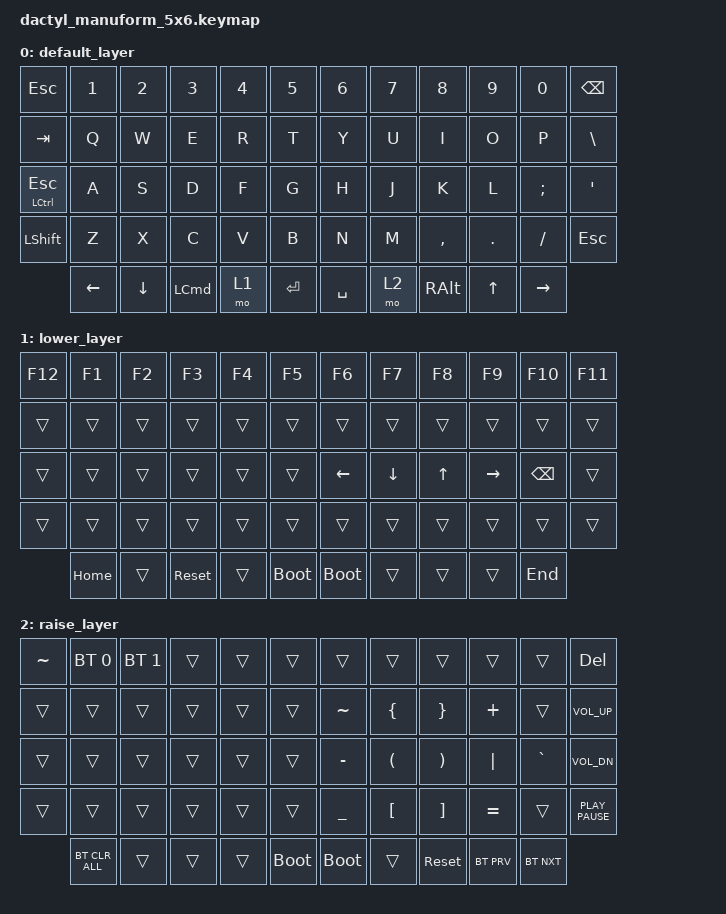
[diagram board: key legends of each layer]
#include <behaviors.dtsi>
#include <dt-bindings/zmk/bt.h>
#include <dt-bindings/zmk/keys.h>

#define DEFAULT 0
#define LWR 1
#define RSE 2

// #define ADJ 3

/ {
    macros {
        mac_screenshot: mac_screenshot {
            compatible = "zmk,behavior-macro";
            #binding-cells = <0>;
            bindings = <&macro_press>, <&kp LEFT_COMMAND>;

            label = "MAC_SCREENSHOT";
        };
    };

    keymap {
        compatible = "zmk,keymap";

        default_layer {
            bindings = <
&kp ESC                  &kp N1          &kp N2          &kp N3            &kp N4  &kp N5     &kp N6     &kp N7  &kp N8         &kp N9        &kp N0           &kp BSPC
&kp TAB                  &kp Q           &kp W           &kp E             &kp R   &kp T      &kp Y      &kp U   &kp I          &kp O         &kp P            &kp BACKSLASH
&mt LEFT_CONTROL ESCAPE  &kp A           &kp S           &kp D             &kp F   &kp G      &kp H      &kp J   &kp K          &kp L         &kp SEMI         &kp SINGLE_QUOTE
&kp LEFT_SHIFT           &kp Z           &kp X           &kp C             &kp V   &kp B      &kp N      &kp M   &kp COMMA      &kp DOT       &kp FSLH         &kp ESCAPE
                         &kp LEFT_ARROW  &kp DOWN_ARROW  &kp LEFT_COMMAND  &mo 1   &kp RET    &kp SPACE  &mo 2   &kp RIGHT_ALT  &kp UP_ARROW  &kp RIGHT_ARROW
            >;
        };

        lower_layer {
            bindings = <
&kp F12  &kp F1    &kp F2  &kp F3      &kp F4  &kp F5         &kp F6          &kp F7    &kp F8        &kp F9     &kp F10        &kp F11
&trans   &trans    &trans  &trans      &trans  &trans         &trans          &trans    &trans        &trans     &trans         &trans
&trans   &trans    &trans  &trans      &trans  &trans         &kp LEFT_ARROW  &kp DOWN  &kp UP_ARROW  &kp RIGHT  &kp BACKSPACE  &trans
&trans   &trans    &trans  &trans      &trans  &trans         &trans          &trans    &trans        &trans     &trans         &trans
         &kp HOME  &trans  &sys_reset  &trans  &bootloader    &bootloader     &trans    &trans        &trans     &kp END
            >;
        };

        raise_layer {
            bindings = <
&kp TILDE  &bt BT_SEL 0    &bt BT_SEL 1  &trans  &trans  &trans         &trans          &trans                &trans                 &trans      &trans      &kp DEL
&trans     &trans          &trans        &trans  &trans  &trans         &kp TILDE       &kp LEFT_BRACE        &kp RIGHT_BRACE        &kp PLUS    &trans      &kp K_VOL_UP
&trans     &trans          &trans        &trans  &trans  &trans         &kp MINUS       &kp LEFT_PARENTHESIS  &kp RIGHT_PARENTHESIS  &kp PIPE    &kp GRAVE   &kp K_VOL_DN
&trans     &trans          &trans        &trans  &trans  &trans         &kp UNDERSCORE  &kp LEFT_BRACKET      &kp RIGHT_BRACKET      &kp EQUAL   &trans      &kp K_PLAY_PAUSE
           &bt BT_CLR_ALL  &trans        &trans  &trans  &bootloader    &bootloader     &trans                &sys_reset             &bt BT_PRV  &bt BT_NXT
            >;
        };
    };
};
